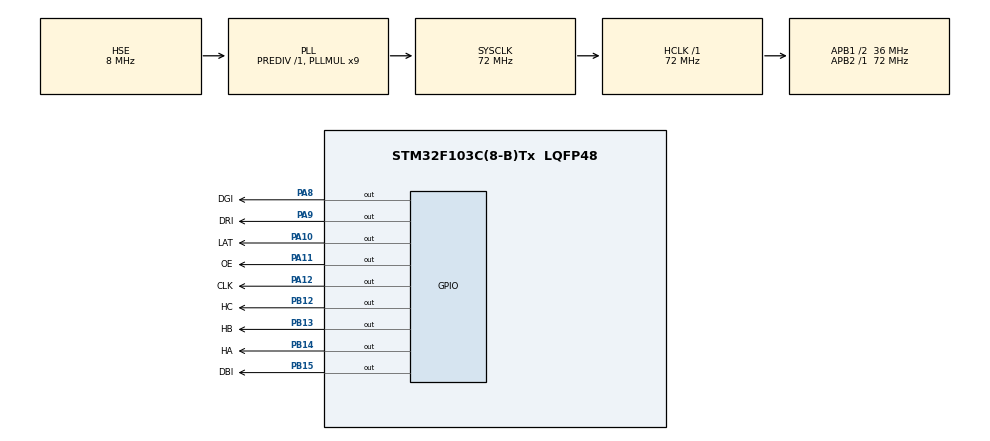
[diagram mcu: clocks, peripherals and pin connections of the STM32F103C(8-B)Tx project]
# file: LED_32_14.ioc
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Mcu.Family=STM32F1
Mcu.Name=STM32F103C(8-B)Tx
Mcu.Package=LQFP48
NVIC.PriorityGroup=NVIC_PRIORITYGROUP_4
NVIC.TIM4_IRQn=true\:0\:0\:false\:false\:true\:true\:true\:true
PA10.GPIO_Label=LAT
PA10.GPIO_ModeDefaultOutputPP=GPIO_MODE_OUTPUT_PP
PA10.GPIO_PuPd=GPIO_PULLDOWN
PA10.GPIO_Speed=GPIO_SPEED_FREQ_HIGH
PA10.PinState=GPIO_PIN_RESET
PA10.Signal=GPIO_Output
PA11.GPIO_Label=OE
PA11.GPIO_ModeDefaultOutputPP=GPIO_MODE_OUTPUT_PP
PA11.GPIO_PuPd=GPIO_PULLUP
PA11.GPIO_Speed=GPIO_SPEED_FREQ_HIGH
PA11.PinState=GPIO_PIN_SET
PA11.Signal=GPIO_Output
PA12.GPIO_Label=CLK
PA12.GPIO_ModeDefaultOutputPP=GPIO_MODE_OUTPUT_PP
PA12.GPIO_PuPd=GPIO_PULLDOWN
PA12.GPIO_Speed=GPIO_SPEED_FREQ_HIGH
PA12.PinState=GPIO_PIN_RESET
PA12.Signal=GPIO_Output
PA13.Mode=Serial_Wire
PA13.Signal=SYS_JTMS-SWDIO
PA14.Mode=Serial_Wire
PA14.Signal=SYS_JTCK-SWCLK
PA8.GPIO_Label=DGI
PA8.GPIO_ModeDefaultOutputPP=GPIO_MODE_OUTPUT_PP
PA8.GPIO_PuPd=GPIO_PULLDOWN
PA8.GPIO_Speed=GPIO_SPEED_FREQ_HIGH
PA8.PinState=GPIO_PIN_RESET
PA8.Signal=GPIO_Output
PA9.GPIO_Label=DRI
PA9.GPIO_ModeDefaultOutputPP=GPIO_MODE_OUTPUT_PP
PA9.GPIO_PuPd=GPIO_PULLDOWN
PA9.GPIO_Speed=GPIO_SPEED_FREQ_HIGH
PA9.PinState=GPIO_PIN_RESET
PA9.Signal=GPIO_Output
PB12.GPIO_Label=HC
PB12.GPIO_ModeDefaultOutputPP=GPIO_MODE_OUTPUT_PP
PB12.GPIO_PuPd=GPIO_PULLDOWN
PB12.GPIO_Speed=GPIO_SPEED_FREQ_HIGH
PB12.PinState=GPIO_PIN_RESET
PB12.Signal=GPIO_Output
PB13.GPIO_Label=HB
PB13.GPIO_ModeDefaultOutputPP=GPIO_MODE_OUTPUT_PP
PB13.GPIO_PuPd=GPIO_PULLDOWN
PB13.GPIO_Speed=GPIO_SPEED_FREQ_HIGH
PB13.PinState=GPIO_PIN_RESET
PB13.Signal=GPIO_Output
PB14.GPIO_Label=HA
PB14.GPIO_ModeDefaultOutputPP=GPIO_MODE_OUTPUT_PP
PB14.GPIO_PuPd=GPIO_PULLDOWN
PB14.GPIO_Speed=GPIO_SPEED_FREQ_HIGH
PB14.PinState=GPIO_PIN_RESET
PB14.Signal=GPIO_Output
PB15.GPIO_Label=DBI
PB15.GPIO_ModeDefaultOutputPP=GPIO_MODE_OUTPUT_PP
PB15.GPIO_PuPd=GPIO_PULLDOWN
PB15.GPIO_Speed=GPIO_SPEED_FREQ_HIGH
PB15.PinState=GPIO_PIN_RESET
PB15.Signal=GPIO_Output
PD0-OSC_IN.Mode=HSE-External-Oscillator
PD0-OSC_IN.Signal=RCC_OSC_IN
PD1-OSC_OUT.Mode=HSE-External-Oscillator
PD1-OSC_OUT.Signal=RCC_OSC_OUT
ProjectManager.HeapSize=0x200
ProjectManager.StackSize=0x400
ProjectManager.TargetToolchain=MDK-ARM V5.32
RCC.AHBFreq_Value=72000000
RCC.APB1CLKDivider=RCC_HCLK_DIV2
RCC.APB1Freq_Value=36000000
RCC.APB1TimFreq_Value=72000000
RCC.APB2Freq_Value=72000000
RCC.APB2TimFreq_Value=72000000
RCC.HCLKFreq_Value=72000000
RCC.PLLMUL=RCC_PLL_MUL9
RCC.PLLSourceVirtual=RCC_PLLSOURCE_HSE
RCC.SYSCLKFreq_VALUE=72000000
RCC.SYSCLKSource=RCC_SYSCLKSOURCE_PLLCLK
RCC.USBFreq_Value=72000000
TIM4.AutoReloadPreload=TIM_AUTORELOAD_PRELOAD_DISABLE
TIM4.Period=9-1
TIM4.Prescaler=8-1
VP_TIM4_VS_ClockSourceINT.Mode=Internal
board=custom

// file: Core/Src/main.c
/* USER CODE BEGIN Header */
/**
  ******************************************************************************
  * @file           : main.c
  * @brief          : Main program body
  ******************************************************************************
  * @attention
  *
  * Copyright (c) 2024 STMicroelectronics.
  * All rights reserved.
  *
  * This software is licensed under terms that can be found in the LICENSE file
  * in the root directory of this software component.
  * If no LICENSE file comes with this software, it is provided AS-IS.
  *
  ******************************************************************************
  */
/* USER CODE END Header */
#include "main.h"
#include "tim.h"
#include "gpio.h"

/* USER CODE BEGIN Includes */
#include "dbger.h"
/* USER CODE END Includes */

/* USER CODE BEGIN PD */
#define LED_DELAY_US(us)		do {counter = us; HAL_TIM_Base_Start_IT(&htim4); while(counter);} while(0)

#define CLK_LOW		HAL_GPIO_WritePin(CLK_GPIO_Port, CLK_Pin, GPIO_PIN_RESET)
#define CLK_HIGH	HAL_GPIO_WritePin(CLK_GPIO_Port, CLK_Pin, GPIO_PIN_SET)

#define LAT_LOW		HAL_GPIO_WritePin(LAT_GPIO_Port, LAT_Pin, GPIO_PIN_RESET)
#define LAT_HIGH	HAL_GPIO_WritePin(LAT_GPIO_Port, LAT_Pin, GPIO_PIN_SET)

#define OE_LOW		HAL_GPIO_WritePin(OE_GPIO_Port, OE_Pin, GPIO_PIN_RESET)
#define OE_HIGH		HAL_GPIO_WritePin(OE_GPIO_Port, OE_Pin, GPIO_PIN_SET)

#define DRI_LOW		HAL_GPIO_WritePin(DRI_GPIO_Port, DRI_Pin, GPIO_PIN_RESET)
#define DRI_HIGH	HAL_GPIO_WritePin(DRI_GPIO_Port, DRI_Pin, GPIO_PIN_SET)
#define DGI_LOW		HAL_GPIO_WritePin(DGI_GPIO_Port, DGI_Pin, GPIO_PIN_RESET)
#define DGI_HIGH	HAL_GPIO_WritePin(DGI_GPIO_Port, DGI_Pin, GPIO_PIN_SET)
#define DBI_LOW		HAL_GPIO_WritePin(DBI_GPIO_Port, DBI_Pin, GPIO_PIN_RESET)
#define DBI_HIGH	HAL_GPIO_WritePin(DBI_GPIO_Port, DBI_Pin, GPIO_PIN_SET)

// CLK	A
#define HA_LOW		HAL_GPIO_WritePin(HA_GPIO_Port, HA_Pin, GPIO_PIN_RESET)
#define HA_HIGH		HAL_GPIO_WritePin(HA_GPIO_Port, HA_Pin, GPIO_PIN_SET)
// RK(BK) B
#define HB_LOW		HAL_GPIO_WritePin(HB_GPIO_Port, HB_Pin, GPIO_PIN_RESET)
#define HB_HIGH		HAL_GPIO_WritePin(HB_GPIO_Port, HB_Pin, GPIO_PIN_SET)
// SDI C
#define HC_LOW		HAL_GPIO_WritePin(HC_GPIO_Port, HC_Pin, GPIO_PIN_RESET)
#define HC_HIGH		HAL_GPIO_WritePin(HC_GPIO_Port, HC_Pin, GPIO_PIN_SET)
/* USER CODE END PD */

/* USER CODE BEGIN PV */
#define LINE_NUM		14		// 14 lines
#define CLOUMN_NUM	32		// 32 cloumns
#define COLOR_NUM		3			// R G B

uint32_t color[LINE_NUM][COLOR_NUM];

extern volatile uint32_t counter;
/* USER CODE END PV */

void SystemClock_Config(void);
/* USER CODE BEGIN PFP */
void set_line(uint8_t line);
void set_data(uint8_t line);
/* USER CODE END PFP */

int main(void)
{

  /* MCU Configuration--------------------------------------------------------*/

  /* Reset of all peripherals, Initializes the Flash interface and the Systick. */
  HAL_Init();

  /* Configure the system clock */
  SystemClock_Config();

  /* USER CODE BEGIN SysInit */
	LOG_INIT();
	LOG_DBG("\n\nLED_32_14 start\n");
  /* USER CODE END SysInit */

  /* Initialize all configured peripherals */
  MX_GPIO_Init();
  MX_TIM4_Init();
  /* USER CODE BEGIN 2 */
#if 0	// test delay us
	for(uint8_t i = 0; i < 10; i++) {
		LED_DELAY_US(1000000);
	}
#endif

	// color value init
	for(uint8_t i = 0; i < LINE_NUM; i++) {
		color[i][0] = 0;
		color[i][1] = 0xFFFFFFFF;
		color[i][2] = 0;
	}
  /* USER CODE END 2 */

  /* Infinite loop */
  /* USER CODE BEGIN WHILE */
  while (1)
  {
#if 1		// line scan
		for(uint8_t i = 0; i < LINE_NUM; i++) {
			set_line(i);
			set_data(i);
			HAL_Delay(1000);
		}
#elif 0	// cloumn scan
		for(uint8_t i = 0; i < 32; i++) {
			for(uint8_t j = 0; j < LINE_NUM; j++) {
				set_line(j);
				set_data(j);
			}
			HAL_Delay(200);
			for(uint8_t i = 0; i < LINE_NUM; i++) {
				color[i][1] <<= 1;
			}
		}
		for(uint8_t i = 0; i < LINE_NUM; i++) {
			color[i][1] = 1;
		}
#else
		HAL_Delay(1000);
		LOG_DBG("delay 1s by HAL\n");
#endif
    /* USER CODE END WHILE */

  }
}

void SystemClock_Config(void)
{
  RCC_OscInitTypeDef RCC_OscInitStruct = {0};
  RCC_ClkInitTypeDef RCC_ClkInitStruct = {0};

  /** Initializes the RCC Oscillators according to the specified parameters
  * in the RCC_OscInitTypeDef structure.
  */
  RCC_OscInitStruct.OscillatorType = RCC_OSCILLATORTYPE_HSE;
  RCC_OscInitStruct.HSEState = RCC_HSE_ON;
  RCC_OscInitStruct.HSEPredivValue = RCC_HSE_PREDIV_DIV1;
  RCC_OscInitStruct.HSIState = RCC_HSI_ON;
  RCC_OscInitStruct.PLL.PLLState = RCC_PLL_ON;
  RCC_OscInitStruct.PLL.PLLSource = RCC_PLLSOURCE_HSE;
  RCC_OscInitStruct.PLL.PLLMUL = RCC_PLL_MUL9;
  if (HAL_RCC_OscConfig(&RCC_OscInitStruct) != HAL_OK)
  {
    Error_Handler();
  }

  /** Initializes the CPU, AHB and APB buses clocks
  */
  RCC_ClkInitStruct.ClockType = RCC_CLOCKTYPE_HCLK|RCC_CLOCKTYPE_SYSCLK
                              |RCC_CLOCKTYPE_PCLK1|RCC_CLOCKTYPE_PCLK2;
  RCC_ClkInitStruct.SYSCLKSource = RCC_SYSCLKSOURCE_PLLCLK;
  RCC_ClkInitStruct.AHBCLKDivider = RCC_SYSCLK_DIV1;
  RCC_ClkInitStruct.APB1CLKDivider = RCC_HCLK_DIV2;
  RCC_ClkInitStruct.APB2CLKDivider = RCC_HCLK_DIV1;

  if (HAL_RCC_ClockConfig(&RCC_ClkInitStruct, FLASH_LATENCY_2) != HAL_OK)
  {
    Error_Handler();
  }
}

/* USER CODE BEGIN 4 */
void set_line(uint8_t line)
{
	HB_LOW;
	for(uint8_t i = 0; i < LINE_NUM; i++) {
		HA_LOW;
		(i == line) ? HC_HIGH : HC_LOW;
		LED_DELAY_US(1);
		HA_HIGH;
		LED_DELAY_US(1);
	}
	HB_HIGH;
}

void set_data(uint8_t line)
{
	for(uint8_t i = 0; i < CLOUMN_NUM; i++) {
		CLK_LOW;
		(color[line][0] & (1 << i)) ? DRI_HIGH : DRI_LOW;
		(color[line][1] & (1 << i)) ? DGI_HIGH : DGI_LOW;
		(color[line][2] & (1 << i)) ? DBI_HIGH : DBI_LOW;
		LED_DELAY_US(1);
		CLK_HIGH;
		LED_DELAY_US(1);
	}
	LAT_HIGH;
	LED_DELAY_US(1);
	LAT_LOW;
	OE_LOW;
	LED_DELAY_US(80);		// less than 100
	OE_HIGH;
}
/* USER CODE END 4 */

void Error_Handler(void)
{
  __disable_irq();
  while (1)
  {
  }
}
